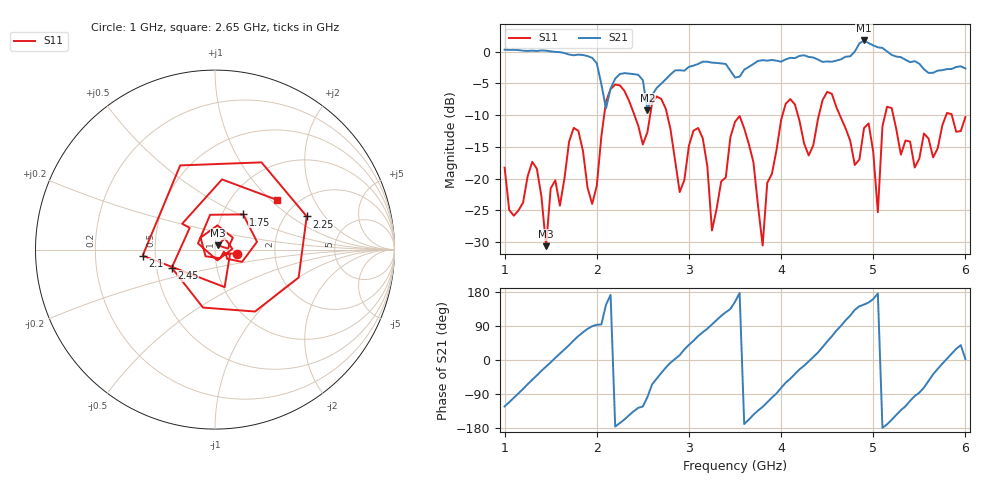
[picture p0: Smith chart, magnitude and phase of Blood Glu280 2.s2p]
! NanoVNA-App
! Date: 2024-03-21 18:09:59
! Start: 1GHz Stop: 6GHz Points: 101
! S-Parameter data: F S11 S21 S12 S22
# Hz S RI R 50
!	Frequency	S11_Real	S11_Imag	S21_Real	S21_Imag	S12_Real	S12_Imag	S22_Real	S22_Imag
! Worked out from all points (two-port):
!   101 points, 1 GHz to 6 GHz, reference 50 ohm
!   highest |S21| = 1.77 dB at 4.9 GHz (marker M1); lowest = -9.2 dB at 2.55 GHz (marker M2)
!   |S21| within 3 dB of the highest: start of sweep to 1.965 GHz; 4.643 GHz to 5.345 GHz (701.5 MHz wide, 14 % of centre)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
!   lowest |S11| = -30.6 dB at 1.45 GHz (marker M3), VSWR 1.06, Z = 51.7 + j2.43 ohm
!   |S11| at or under -10 dB: start of sweep to 2.08 GHz; 2.765 GHz to 4.015 GHz (1.25 GHz wide, 36.9 % of centre); 5.217 GHz to 5.791 GHz (574.2 MHz wide, 10.4 % of centre)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
!   S12 and S22 are empty: the file has one direction only
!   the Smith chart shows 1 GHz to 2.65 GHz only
!   S11 on the Smith chart (normalised r, x): 1 GHz: 1.27, -0.06; 1.75 GHz: 1.25, +0.52; 2.1 GHz: 0.42, -0.03; 2.25 GHz: 2.58, +1.35; 2.45 GHz: 0.60, -0.13; 2.65 GHz: 1.60, +1.10
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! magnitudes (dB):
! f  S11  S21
! 1 GHz  -18.3  0.3
! 1.45 GHz  -30.6  0.2
! 1.75 GHz  -12.0  -0.6
! 1.85 GHz  -15.6  -0.5
! 1.95 GHz  -24.0  -1.0
! 2.1 GHz  -7.9  -8.9
! 2.25 GHz  -5.3  -3.5
! 2.45 GHz  -11.7  -3.6
! 2.55 GHz  -12.7  -9.2
! 2.65 GHz  -7.0  -5.7
! 2.7 GHz  -7.4  -5.0
! 2.9 GHz  -22.1  -2.9
! 3.15 GHz  -13.6  -1.6
! 3.25 GHz  -28.2  -1.7
! 3.5 GHz  -11.1  -4.1
! 3.8 GHz  -30.5  -1.3
! 4.05 GHz  -8.2  -1.2
! 4.35 GHz  -14.7  -0.9
! 4.9 GHz  -12.0  1.8
! 5.05 GHz  -25.3  0.7
! 5.2 GHz  -8.9  -0.5
! 6 GHz  -10.3  -2.6
